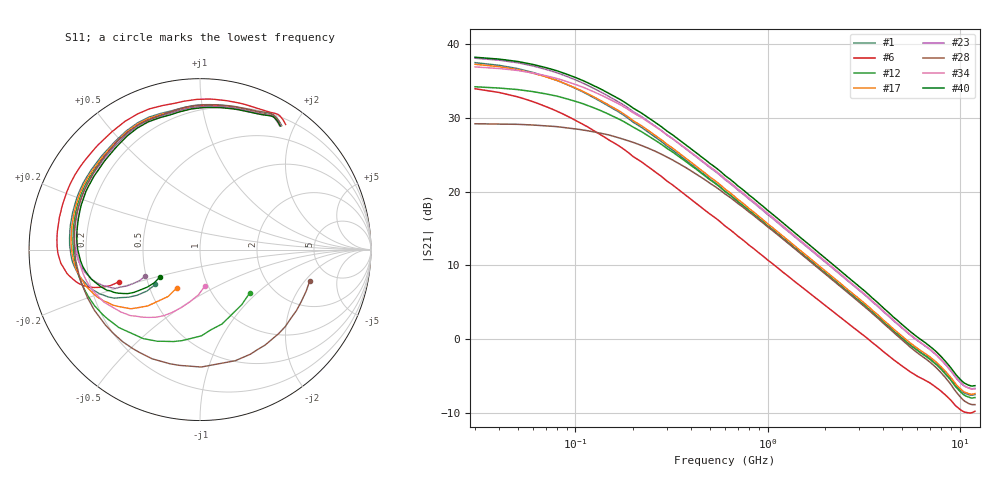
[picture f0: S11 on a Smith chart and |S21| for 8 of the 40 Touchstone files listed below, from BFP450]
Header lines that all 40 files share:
! Infineon Technologies  Discrete & RF Semiconductors
! BFP450
! Common Emitter S-Parameters:  Nov 2015
# GHz  S  MA  R  50
!  f  S11  S21  S12  S22
! GHz  MAG  ANG  MAG  ANG  MAG  ANG  MAG  ANG
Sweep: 30 MHz to 12 GHz
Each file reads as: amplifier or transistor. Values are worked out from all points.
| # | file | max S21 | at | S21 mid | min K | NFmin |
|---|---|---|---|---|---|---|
| 1 | BFP450_w_noise_VCE_1.0V_IC_0.10A.s2p | 37.5 dB | 30 MHz | 9.5 dB at 1.88 GHz | 0.43 | 2.12 dB |
| 2 | BFP450_w_noise_VCE_1.0V_IC_0.11A.s2p | 37.4 dB | 30 MHz | 9.4 dB at 1.88 GHz | 0.46 | 2.22 dB |
| 3 | BFP450_w_noise_VCE_1.0V_IC_0.12A.s2p | 37.3 dB | 30 MHz | 9.1 dB at 1.88 GHz | 0.49 | 2.31 dB |
| 4 | BFP450_w_noise_VCE_1.0V_IC_0.14A.s2p | 36.7 dB | 30 MHz | 8.4 dB at 1.88 GHz | 0.58 | 2.52 dB |
| 5 | BFP450_w_noise_VCE_1.0V_IC_0.16A.s2p | 35.6 dB | 30 MHz | 7.0 dB at 1.88 GHz | 0.69 | 2.68 dB |
| 6 | BFP450_w_noise_VCE_1.0V_IC_0.18A.s2p | 33.9 dB | 30 MHz | 5.1 dB at 1.88 GHz | 0.81 | 2.85 dB |
| 7 | BFP450_w_noise_VCE_1.0V_IC_0.20A.s2p | 32.0 dB | 30 MHz | 2.9 dB at 1.88 GHz | 0.91 | 3.03 dB |
| 8 | BFP450_w_noise_VCE_1.0V_IC_5.0mA.s2p | 24.2 dB | 30 MHz | 6.7 dB at 1.88 GHz | 0.03 | 1.02 dB |
| 9 | BFP450_w_noise_VCE_1.0V_IC_10mA.s2p | 29.1 dB | 30 MHz | 8.4 dB at 1.88 GHz | 0.06 | 0.98 dB |
| 10 | BFP450_w_noise_VCE_1.0V_IC_15mA.s2p | 31.6 dB | 30 MHz | 9.0 dB at 1.88 GHz | 0.08 | 1.04 dB |
| 11 | BFP450_w_noise_VCE_1.0V_IC_20mA.s2p | 33.1 dB | 30 MHz | 9.3 dB at 1.88 GHz | 0.11 | 1.10 dB |
| 12 | BFP450_w_noise_VCE_1.0V_IC_25mA.s2p | 34.2 dB | 30 MHz | 9.5 dB at 1.88 GHz | 0.13 | 1.19 dB |
| 13 | BFP450_w_noise_VCE_1.0V_IC_30mA.s2p | 35.0 dB | 30 MHz | 9.6 dB at 1.88 GHz | 0.16 | 1.27 dB |
| 14 | BFP450_w_noise_VCE_1.0V_IC_40mA.s2p | 36.0 dB | 30 MHz | 9.8 dB at 1.88 GHz | 0.21 | 1.41 dB |
| 15 | BFP450_w_noise_VCE_1.0V_IC_50mA.s2p | 36.6 dB | 30 MHz | 9.8 dB at 1.88 GHz | 0.25 | 1.55 dB |
| 16 | BFP450_w_noise_VCE_1.0V_IC_60mA.s2p | 37.0 dB | 30 MHz | 9.8 dB at 1.88 GHz | 0.29 | 1.69 dB |
| 17 | BFP450_w_noise_VCE_1.0V_IC_70mA.s2p | 37.3 dB | 30 MHz | 9.8 dB at 1.88 GHz | 0.32 | 1.81 dB |
| 18 | BFP450_w_noise_VCE_1.0V_IC_80mA.s2p | 37.4 dB | 30 MHz | 9.7 dB at 1.88 GHz | 0.36 | 1.90 dB |
| 19 | BFP450_w_noise_VCE_1.0V_IC_90mA.s2p | 37.5 dB | 30 MHz | 9.7 dB at 1.88 GHz | 0.39 | 2.02 dB |
| 20 | BFP450_w_noise_VCE_2.0V_IC_0.10A.s2p | 38.1 dB | 30 MHz | 11.2 dB at 1.88 GHz | 0.37 | 2.12 dB |
| 21 | BFP450_w_noise_VCE_2.0V_IC_0.11A.s2p | 38.1 dB | 30 MHz | 11.2 dB at 1.88 GHz | 0.39 | 2.22 dB |
| 22 | BFP450_w_noise_VCE_2.0V_IC_0.12A.s2p | 38.1 dB | 30 MHz | 11.1 dB at 1.88 GHz | 0.41 | 2.31 dB |
| 23 | BFP450_w_noise_VCE_2.0V_IC_0.14A.s2p | 38.1 dB | 30 MHz | 11.0 dB at 1.88 GHz | 0.46 | 2.52 dB |
| 24 | BFP450_w_noise_VCE_2.0V_IC_0.16A.s2p | 37.9 dB | 30 MHz | 10.8 dB at 1.88 GHz | 0.50 | 2.68 dB |
| 25 | BFP450_w_noise_VCE_2.0V_IC_0.18A.s2p | 37.5 dB | 30 MHz | 10.4 dB at 1.88 GHz | 0.56 | 2.85 dB |
| 26 | BFP450_w_noise_VCE_2.0V_IC_0.20A.s2p | 37.0 dB | 30 MHz | 9.8 dB at 1.88 GHz | 0.62 | 3.03 dB |
| 27 | BFP450_w_noise_VCE_2.0V_IC_5.0mA.s2p | 24.3 dB | 50 MHz | 7.7 dB at 1.88 GHz | 0.03 | 1.02 dB |
| 28 | BFP450_w_noise_VCE_2.0V_IC_10mA.s2p | 29.2 dB | 30 MHz | 9.4 dB at 1.88 GHz | 0.06 | 0.98 dB |
| 29 | BFP450_w_noise_VCE_2.0V_IC_15mA.s2p | 31.7 dB | 30 MHz | 10.1 dB at 1.88 GHz | 0.08 | 1.04 dB |
| 30 | BFP450_w_noise_VCE_2.0V_IC_20mA.s2p | 33.3 dB | 30 MHz | 10.5 dB at 1.88 GHz | 0.10 | 1.10 dB |
| 31 | BFP450_w_noise_VCE_2.0V_IC_25mA.s2p | 34.4 dB | 30 MHz | 10.7 dB at 1.88 GHz | 0.13 | 1.19 dB |
| 32 | BFP450_w_noise_VCE_2.0V_IC_30mA.s2p | 35.2 dB | 30 MHz | 10.8 dB at 1.88 GHz | 0.15 | 1.27 dB |
| 33 | BFP450_w_noise_VCE_2.0V_IC_40mA.s2p | 36.2 dB | 30 MHz | 11.0 dB at 1.88 GHz | 0.19 | 1.41 dB |
| 34 | BFP450_w_noise_VCE_2.0V_IC_50mA.s2p | 36.9 dB | 30 MHz | 11.1 dB at 1.88 GHz | 0.23 | 1.55 dB |
| 35 | BFP450_w_noise_VCE_2.0V_IC_60mA.s2p | 37.3 dB | 30 MHz | 11.2 dB at 1.88 GHz | 0.26 | 1.69 dB |
| 36 | BFP450_w_noise_VCE_2.0V_IC_70mA.s2p | 37.6 dB | 30 MHz | 11.2 dB at 1.88 GHz | 0.29 | 1.81 dB |
| 37 | BFP450_w_noise_VCE_2.0V_IC_80mA.s2p | 37.8 dB | 30 MHz | 11.2 dB at 1.88 GHz | 0.32 | 1.90 dB |
| 38 | BFP450_w_noise_VCE_2.0V_IC_90mA.s2p | 38.0 dB | 30 MHz | 11.2 dB at 1.88 GHz | 0.35 | 2.02 dB |
| 39 | BFP450_w_noise_VCE_2.5V_IC_0.10A.s2p | 38.1 dB | 30 MHz | 11.6 dB at 1.88 GHz | 0.36 | 2.12 dB |
| 40 | BFP450_w_noise_VCE_2.5V_IC_0.11A.s2p | 38.2 dB | 30 MHz | 11.5 dB at 1.88 GHz | 0.38 | 2.22 dB |

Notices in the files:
BFP450/BFP450_w_noise_VCE_1.0V_IC_0.10A.s2p:
(c) 2015  Infineon Technologies AG, Munich
